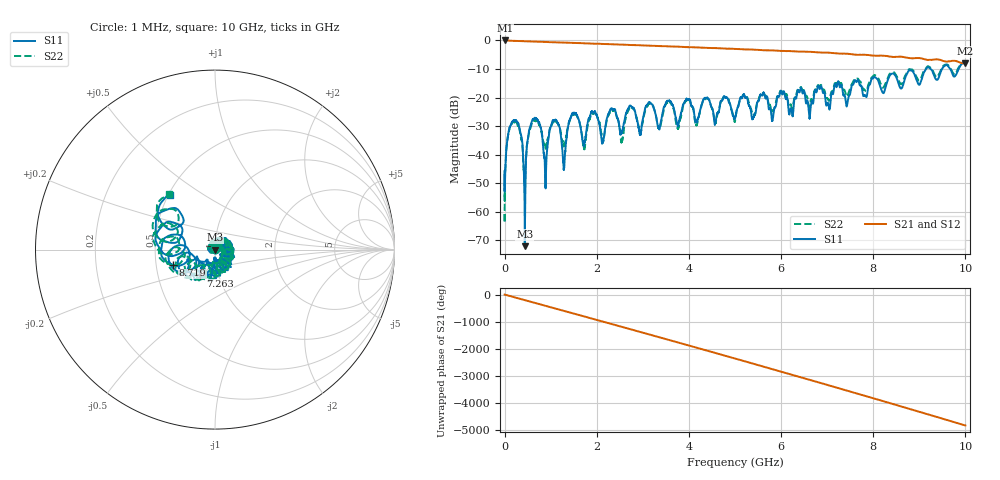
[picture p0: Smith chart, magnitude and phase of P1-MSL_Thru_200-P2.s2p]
! 2/19/2018 12:36:31 PM
! E:\STEPPED_EXPERIMENT_2018-02-19\P1-MSL_THRU_200-P2.S2P
! CHANNEL.1
! TR.MEASUREMENT
! CORRECTED.DATA
# GHZ S RI R 50.0
! FREQ.GHZ  S11RE  S11IM  S21RE  S21IM  S12RE  S12IM  S22RE  S22IM
!; PortSelection: Port_12
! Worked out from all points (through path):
!   10000 points, 1 MHz to 10 GHz, reference 50 ohm
!   highest |S21| = 0.00 dB at 4 MHz (marker M1); lowest = -8.1 dB at 9.993 GHz (marker M2)
!   group delay of S21, straight-line fit = 1.34 ns
!   lowest |S11| = -72.1 dB at 439 MHz (marker M3), VSWR 1.00, Z = 50 - j0.023 ohm
!   |S11| at or under -10 dB: start of sweep to 9.146 GHz; 9.25 GHz to 9.492 GHz (242 MHz wide, 2.58 % of centre); 9.672 GHz to 9.852 GHz (179.5 MHz wide, 1.84 % of centre)
!   |S22| runs from -64.0 to -7.7 dB; largest |S21 - S12| = 0.02
!   S11 on the Smith chart (normalised r, x): 1 MHz: 1.00, +0.00; 7.263 GHz: 0.82, -0.24; 8.719 GHz: 0.61, -0.11; 10 GHz: 0.51, +0.38
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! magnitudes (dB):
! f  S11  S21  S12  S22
! 1 MHz  -52.5  -0.1  0.0  -60.9
! 4 MHz  -45.9  0.0  0.0  -48.7
! 165 MHz  -28.6  -0.1  -0.1  -29.1
! 332 MHz  -31.2  -0.2  -0.2  -31.9
! 439 MHz  -72.1  -0.3  -0.3  -50.0
! 638 MHz  -27.5  -0.4  -0.4  -28.1
! 882 MHz  -48.3  -0.5  -0.5  -36.8
! 1.073 GHz  -28.0  -0.6  -0.6  -28.6
! 1.283 GHz  -44.6  -0.7  -0.8  -36.8
! 1.473 GHz  -25.5  -0.8  -0.9  -26.1
! 1.668 GHz  -32.2  -0.9  -1.0  -31.8
! 2.941 GHz  -32.9  -1.7  -1.7  -32.3
! 3.144 GHz  -21.6  -1.8  -1.9  -22.0
! 3.334 GHz  -30.3  -1.9  -1.9  -30.6
! 3.559 GHz  -21.1  -2.1  -2.1  -21.3
! 5.001 GHz  -27.3  -2.9  -3.0  -28.4
! 6.667 GHz  -21.4  -4.0  -4.1  -20.7
! 7.263 GHz  -15.6  -4.6  -4.6  -14.8
! 8.334 GHz  -13.2  -5.6  -5.6  -12.4
! 8.719 GHz  -12.1  -6.0  -6.0  -11.6
! 9.993 GHz  -8.0  -8.1  -8.1  -7.9
! 10 GHz  -8.1  -8.1  -8.1  -8.0
